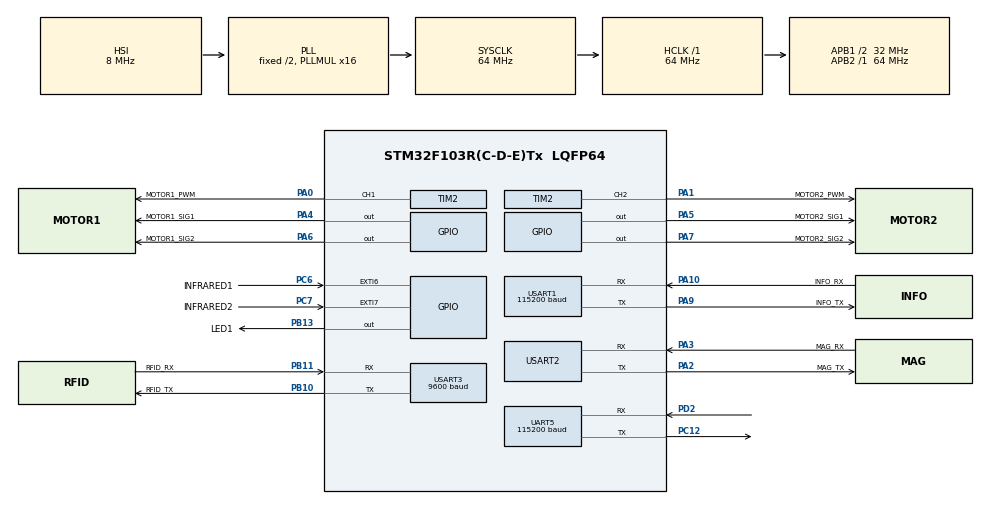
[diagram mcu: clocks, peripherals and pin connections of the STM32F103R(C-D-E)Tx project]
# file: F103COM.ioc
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Mcu.Family=STM32F1
Mcu.Name=STM32F103R(C-D-E)Tx
Mcu.Package=LQFP64
NVIC.EXTI9_5_IRQn=true\:0\:0\:false\:false\:true\:true\:true
NVIC.PriorityGroup=NVIC_PRIORITYGROUP_2
NVIC.TIM3_IRQn=true\:2\:0\:true\:false\:true\:true\:true
NVIC.UART5_IRQn=true\:3\:0\:true\:false\:true\:true\:true
NVIC.USART1_IRQn=true\:1\:1\:true\:false\:true\:true\:true
NVIC.USART2_IRQn=true\:2\:0\:true\:false\:true\:true\:true
NVIC.USART3_IRQn=true\:1\:0\:true\:false\:true\:true\:true
PA0-WKUP.GPIO_Label=MOTOR1_PWM
PA0-WKUP.GPIO_Speed=GPIO_SPEED_FREQ_HIGH
PA0-WKUP.Signal=S_TIM2_CH1_ETR
PA1.GPIO_Label=MOTOR2_PWM
PA1.GPIO_Speed=GPIO_SPEED_FREQ_HIGH
PA1.Signal=S_TIM2_CH2
PA10.GPIO_Label=INFO_RX
PA10.Mode=Asynchronous
PA10.Signal=USART1_RX
PA2.GPIO_Label=MAG_TX
PA2.Mode=Asynchronous
PA2.Signal=USART2_TX
PA3.GPIO_Label=MAG_RX
PA3.Mode=Asynchronous
PA3.Signal=USART2_RX
PA4.GPIO_Label=MOTOR1_SIG1
PA4.GPIO_PuPd=GPIO_PULLDOWN
PA4.Signal=GPIO_Output
PA5.GPIO_Label=MOTOR2_SIG1
PA5.GPIO_PuPd=GPIO_PULLDOWN
PA5.Signal=GPIO_Output
PA6.GPIO_Label=MOTOR1_SIG2
PA6.GPIO_PuPd=GPIO_PULLDOWN
PA6.Signal=GPIO_Output
PA7.GPIO_Label=MOTOR2_SIG2
PA7.GPIO_PuPd=GPIO_PULLDOWN
PA7.Signal=GPIO_Output
PA9.GPIO_Label=INFO_TX
PA9.Mode=Asynchronous
PA9.Signal=USART1_TX
PB10.GPIO_Label=RFID_TX
PB10.Mode=Asynchronous
PB10.Signal=USART3_TX
PB11.GPIO_Label=RFID_RX
PB11.Mode=Asynchronous
PB11.Signal=USART3_RX
PB13.GPIO_Label=LED1
PB13.GPIO_PuPd=GPIO_PULLDOWN
PB13.Signal=GPIO_Output
PC12.Mode=Asynchronous
PC12.Signal=UART5_TX
PC6.GPIO_Label=INFRARED1
PC6.GPIO_ModeDefaultEXTI=GPIO_MODE_IT_RISING_FALLING
PC6.GPIO_PuPd=GPIO_NOPULL
PC6.Signal=GPXTI6
PC7.GPIO_Label=INFRARED2
PC7.GPIO_ModeDefaultEXTI=GPIO_MODE_IT_RISING_FALLING
PC7.GPIO_PuPd=GPIO_NOPULL
PC7.Signal=GPXTI7
PD2.Mode=Asynchronous
PD2.Signal=UART5_RX
ProjectManager.HeapSize=0x200
ProjectManager.StackSize=0x400
ProjectManager.TargetToolchain=MDK-ARM V5
RCC.AHBFreq_Value=64000000
RCC.APB1CLKDivider=RCC_HCLK_DIV2
RCC.APB1Freq_Value=32000000
RCC.APB1TimFreq_Value=64000000
RCC.APB2Freq_Value=64000000
RCC.APB2TimFreq_Value=64000000
RCC.HCLKFreq_Value=64000000
RCC.PLLMUL=RCC_PLL_MUL16
RCC.SYSCLKFreq_VALUE=64000000
RCC.SYSCLKSource=RCC_SYSCLKSOURCE_PLLCLK
RCC.USBFreq_Value=64000000
SH.S_TIM2_CH1_ETR.0=TIM2_CH1,PWM Generation1 CH1
SH.S_TIM2_CH2.0=TIM2_CH2,PWM Generation2 CH2
TIM2.Channel-PWM\ Generation1\ CH1=TIM_CHANNEL_1
TIM2.Channel-PWM\ Generation2\ CH2=TIM_CHANNEL_2
TIM2.Period=100-1
TIM2.Prescaler=64-1
TIM2.Pulse-PWM\ Generation1\ CH1=20
TIM2.Pulse-PWM\ Generation2\ CH2=20
TIM3.Period=100-1
TIM3.Prescaler=64000-1
UART5.BaudRate=115200
UART5.VirtualMode=Asynchronous
USART1.BaudRate=115200
USART1.VirtualMode=VM_ASYNC
USART2.VirtualMode=VM_ASYNC
USART3.BaudRate=9600
USART3.Mode=MODE_RX
USART3.VirtualMode=VM_ASYNC
VP_SYS_VS_ND.Mode=No_Debug
VP_TIM2_VS_ClockSourceINT.Mode=Internal
VP_TIM3_VS_ClockSourceINT.Mode=Internal
board=custom

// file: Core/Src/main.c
/* USER CODE BEGIN Header */
/**
  ******************************************************************************
  * @file           : main.c
  * @brief          : Main program body
  ******************************************************************************
  * @attention
  *
  * <h2><center>&copy; Copyright (c) 2021 STMicroelectronics.
  * All rights reserved.</center></h2>
  *
  * This software component is licensed by ST under BSD 3-Clause license,
  * the "License"; You may not use this file except in compliance with the
  * License. You may obtain a copy of the License at:
  *                        opensource.org/licenses/BSD-3-Clause
  *
  ******************************************************************************
  */
/* USER CODE END Header */
#include "main.h"
#include "tim.h"
#include "usart.h"
#include "gpio.h"

/* USER CODE BEGIN PD */
#define USER_MAIN_DEBUG
#define COMMAND_BUFFER_SIZE 256
#define MOTOR_NUM 2
#define FULL_PULSE 100
#define DELTA_PULSE 1
#define MAG_BUFFER_LEN 9
#define CARD_BUFFER_LEN 16
#define huart_info huart5
#define huart_mag huart2
#define huart_rfid huart3
/* USER CODE END PD */

/* USER CODE BEGIN PM */
#ifdef USER_MAIN_DEBUG
#define user_main_printf(format, ...) printf( format "\r\n", ##__VA_ARGS__)
#define user_main_info(format, ...) printf("[\tmain]info:" format "\r\n", ##__VA_ARGS__)
#define user_main_debug(format, ...) printf("[\tmain]debug:" format "\r\n", ##__VA_ARGS__)
#define user_main_error(format, ...) printf("[\tmain]error:" format "\r\n", ##__VA_ARGS__)
#else
#define user_main_printf(format, ...)
#define user_main_info(format, ...)
#define user_main_debug(format, ...)
#define user_main_error(format, ...)
#endif

#define abs(x) ((x)>=0?(x):-(x))
#define max(a,b) ((a) > (b) ? (a) : (b))
#define min(a,b) ((a) < (b) ? (a) : (b))
/* USER CODE END PM */

/* USER CODE BEGIN PV */

// buffer
uint8_t infoBuffer[1];      // info receive buffer
uint8_t cardBuffer[CARD_BUFFER_LEN];      // card receive buffer
uint8_t magBuffer[MAG_BUFFER_LEN];      // magnetic receive buffer
// command buffer
uint8_t cmdBuffer[COMMAND_BUFFER_SIZE];
uint8_t cmdPtr = 0;
// motor variables
int16_t pulse_motor[MOTOR_NUM] = {0};
uint32_t channel_motor[MOTOR_NUM] = {TIM_CHANNEL_1, TIM_CHANNEL_2};
GPIO_TypeDef* motor_sig_port[MOTOR_NUM][2] = {{MOTOR1_SIG1_GPIO_Port, MOTOR1_SIG2_GPIO_Port},
																							{MOTOR2_SIG1_GPIO_Port, MOTOR2_SIG2_GPIO_Port}};
uint16_t motor_sig_pin[MOTOR_NUM][2] = {{MOTOR1_SIG1_Pin, MOTOR1_SIG2_Pin},
																				{MOTOR2_SIG1_Pin, MOTOR2_SIG2_Pin}};
// stop & speed
// 0 for break; 1 for forward; 2 for backward; 3 for turn left; 4 for turn right;
// 5 for turn left2; 6 for turn right2; 7 for turn left3; 8 for turn right3;
// 9 for turn left4; 10 for turn right4; 11 for turn left5; 12 for turn right5;
uint8_t moving_status = 0;
uint8_t previous_status = 0;
uint8_t forward_speed = 0;
// site
uint8_t target_site = 0;
// 1 for obstacle; 0 for no obstacle;
uint8_t is_obstacle = 0;

/* USER CODE END PV */

void SystemClock_Config(void);

/* USER CODE BEGIN 0 */
int fputc(int ch, FILE *f){
	uint8_t temp[1] = {ch};
	HAL_UART_Transmit(&huart_info, temp, 1, 20); // modify huart_info in need
	return ch;
}
int atoi(char* source){
	int length = strlen(source);
	int sum = 0;
	for(int i=0;i<length;i++){
		sum = sum*10 + (source[i]-'0');
	}
	return sum;
}
/* USER CODE END 0 */

int main(void)
{

  /* MCU Configuration--------------------------------------------------------*/

  /* Reset of all peripherals, Initializes the Flash interface and the Systick. */
  HAL_Init();

  /* Configure the system clock */
  SystemClock_Config();

  /* Initialize all configured peripherals */
  MX_GPIO_Init();
  MX_USART1_UART_Init();
  MX_TIM2_Init();
  MX_TIM3_Init();
  MX_UART5_Init();
  MX_USART2_UART_Init();
  MX_USART3_UART_Init();
  /* USER CODE BEGIN 2 */
	user_main_printf("Welcome to STM32F103!");
	for(uint8_t i=0; i<MOTOR_NUM; ++i){
		HAL_TIM_PWM_Start(&htim2, channel_motor[i]); // enable PWM2 channel
	}
	HAL_TIM_Base_Start_IT(&htim3); // enable timer3 interrupt
	HAL_UART_Receive_IT(&huart_info, infoBuffer, 1); //enable usart1 reveive
	HAL_UART_Receive_IT(&huart_rfid, cardBuffer, CARD_BUFFER_LEN); //enable card usart reveive
	HAL_UART_Receive_IT(&huart_mag, magBuffer, MAG_BUFFER_LEN); //enable mag usart reveive
  /* USER CODE END 2 */

  /* Infinite loop */
  while (1)
  {

  }
}

void SystemClock_Config(void)
{
  RCC_OscInitTypeDef RCC_OscInitStruct = {0};
  RCC_ClkInitTypeDef RCC_ClkInitStruct = {0};

  /** Initializes the RCC Oscillators according to the specified parameters
  * in the RCC_OscInitTypeDef structure.
  */
  RCC_OscInitStruct.OscillatorType = RCC_OSCILLATORTYPE_HSI;
  RCC_OscInitStruct.HSIState = RCC_HSI_ON;
  RCC_OscInitStruct.HSICalibrationValue = RCC_HSICALIBRATION_DEFAULT;
  RCC_OscInitStruct.PLL.PLLState = RCC_PLL_ON;
  RCC_OscInitStruct.PLL.PLLSource = RCC_PLLSOURCE_HSI_DIV2;
  RCC_OscInitStruct.PLL.PLLMUL = RCC_PLL_MUL16;
  if (HAL_RCC_OscConfig(&RCC_OscInitStruct) != HAL_OK)
  {
    Error_Handler();
  }
  /** Initializes the CPU, AHB and APB buses clocks
  */
  RCC_ClkInitStruct.ClockType = RCC_CLOCKTYPE_HCLK|RCC_CLOCKTYPE_SYSCLK
                              |RCC_CLOCKTYPE_PCLK1|RCC_CLOCKTYPE_PCLK2;
  RCC_ClkInitStruct.SYSCLKSource = RCC_SYSCLKSOURCE_PLLCLK;
  RCC_ClkInitStruct.AHBCLKDivider = RCC_SYSCLK_DIV1;
  RCC_ClkInitStruct.APB1CLKDivider = RCC_HCLK_DIV2;
  RCC_ClkInitStruct.APB2CLKDivider = RCC_HCLK_DIV1;

  if (HAL_RCC_ClockConfig(&RCC_ClkInitStruct, FLASH_LATENCY_2) != HAL_OK)
  {
    Error_Handler();
  }
}

/* USER CODE BEGIN 4 */
// motor
void LogicSwitch(uint8_t motor_id, int8_t logic){
	switch(logic){
		case 1:{ // xuan kong
			HAL_GPIO_WritePin(motor_sig_port[motor_id][0], motor_sig_pin[motor_id][0], GPIO_PIN_SET);
			HAL_GPIO_WritePin(motor_sig_port[motor_id][1], motor_sig_pin[motor_id][1], GPIO_PIN_SET);
			break;
		}
		case 2:{ // zheng zhuan
			HAL_GPIO_WritePin(motor_sig_port[motor_id][0], motor_sig_pin[motor_id][0], GPIO_PIN_SET);
			HAL_GPIO_WritePin(motor_sig_port[motor_id][1], motor_sig_pin[motor_id][1], GPIO_PIN_RESET);
			break;
		}
		case 3:{ // fan zhuan
			HAL_GPIO_WritePin(motor_sig_port[motor_id][0], motor_sig_pin[motor_id][0], GPIO_PIN_RESET);
			HAL_GPIO_WritePin(motor_sig_port[motor_id][1], motor_sig_pin[motor_id][1], GPIO_PIN_SET);
			break;
		}
		default:{ // sha che
			HAL_GPIO_WritePin(motor_sig_port[motor_id][0], motor_sig_pin[motor_id][0], GPIO_PIN_RESET);
			HAL_GPIO_WritePin(motor_sig_port[motor_id][1], motor_sig_pin[motor_id][1], GPIO_PIN_RESET);
		}
	}
}
void ModifyPulse(uint8_t motor_id, int16_t pulse){
	pulse = max(DELTA_PULSE-FULL_PULSE, min(pulse, FULL_PULSE-DELTA_PULSE));
	pulse_motor[motor_id] = pulse;
	LogicSwitch(motor_id, pulse>0?2:3);
	//user_main_printf("[\thandleCmd]ModifyPulse: %d!", pulse);
	__HAL_TIM_SET_COMPARE(&htim2, channel_motor[motor_id], abs(pulse)); // modify pulse
}
void SpeedUp(uint8_t motor_id, int16_t pulse){
	ModifyPulse(motor_id, pulse_motor[motor_id]+pulse);
}
void SlowDown(uint8_t motor_id, int16_t pulse){
	ModifyPulse(motor_id, pulse_motor[motor_id]-pulse);
}
void MotorHang(){
	for(uint8_t i=0; i<MOTOR_NUM; ++i){
		LogicSwitch(i, 1);
	}
}
void MotorOn(){
	moving_status = 1;
	for(uint8_t i=0; i<MOTOR_NUM; ++i){
		LogicSwitch(i, 2);
	}
}
void MotorOff(){
	moving_status = 0;
	for(uint8_t i=0; i<MOTOR_NUM; ++i){
		LogicSwitch(i, 0);
	}
}
void MotorForward(){
	moving_status = 0;
	ModifyPulse(0, (int16_t)forward_speed);
	ModifyPulse(1, (int16_t)forward_speed);
	HAL_Delay(2000);
	ModifyPulse(0, 0);
	ModifyPulse(1, 0);
}
void MotorBackward(){
	moving_status = 0;
	ModifyPulse(0, (int16_t)forward_speed*-1);
	ModifyPulse(1, (int16_t)forward_speed*-1);
	HAL_Delay(2000);
	ModifyPulse(0, 0);
	ModifyPulse(1, 0);
}
void MotorTurnLeft(){
	moving_status = 0;
	ModifyPulse(0, (int16_t)forward_speed);
	ModifyPulse(1, (int16_t)forward_speed*-1);
	HAL_Delay(2000);
	ModifyPulse(0, 0);
	ModifyPulse(1, 0);
}
void MotorTurnRight(){
	moving_status = 0;
	ModifyPulse(0, (int16_t)forward_speed*-1);
	ModifyPulse(1, (int16_t)forward_speed);
	HAL_Delay(2000);
	ModifyPulse(0, 0);
	ModifyPulse(1, 0);
}
void MagneticGuide(int8_t* magStatus){
	if(moving_status == 0){ // stop status
		return;
	}
	uint8_t absMag[8] = {0};
	int16_t sumAbsMag = 0;
	for(uint16_t i=0; i<6; ++i){
		absMag[i] = abs(magStatus[i]);
		sumAbsMag += absMag[i];
	}
	if(sumAbsMag < 5){ // no mag so stop
		ModifyPulse(0, 0);
		ModifyPulse(1, 0);
		return;
	}
	user_main_printf("[\thandleNVIC3]: read mag %d %d %d %d %d %d %d %d!",
									 magStatus[0], magStatus[1], magStatus[2], magStatus[3],
									 magStatus[4], magStatus[5], magStatus[6], magStatus[7]);
	int16_t measured_value = 0;
	for(uint16_t i=0; i<3; ++i){
		measured_value += absMag[i] - absMag[5-i];
	}
	//int16_t PID_error = 0 - measured_value;
	//PID_integral = PID_integral + PID_error*1;
	//int16_t PID_derivative = (PID_error - PID_previous_error) / 1;
	//float PID_output = Kp*PID_error + Ki*PID_integral + Kd*PID_derivative;
	//PID_previous_error = PID_error;
	user_main_printf("[\tGuide]: output %d!", measured_value);
	int16_t forward_thres = 30;
	if(abs(measured_value)<forward_thres){
		moving_status = 1; // forward
		ModifyPulse(0, (int16_t)forward_speed);
		ModifyPulse(1, (int16_t)forward_speed);
		return;
	}
	if(measured_value<-5*forward_thres){
		if(moving_status!=11){ // turn left5
			moving_status = 11;
			ModifyPulse(0, (int16_t)forward_speed-19*DELTA_PULSE);
			ModifyPulse(1, (int16_t)forward_speed+19*DELTA_PULSE);
		}
		return;
	}
	if(measured_value>5*forward_thres){
		if(moving_status!=12){ // turn right5
			moving_status = 12;
			ModifyPulse(0, (int16_t)forward_speed+19*DELTA_PULSE);
			ModifyPulse(1, (int16_t)forward_speed-19*DELTA_PULSE);
		}
		return;
	}
	if(measured_value<-4*forward_thres){
		if(moving_status!=9){ // turn left4
			moving_status = 9;
			ModifyPulse(0, (int16_t)forward_speed-13*DELTA_PULSE);
			ModifyPulse(1, (int16_t)forward_speed+13*DELTA_PULSE);
		}
		return;
	}
	if(measured_value>4*forward_thres){
		if(moving_status!=10){ // turn right4
			moving_status = 10;
			ModifyPulse(0, (int16_t)forward_speed+13*DELTA_PULSE);
			ModifyPulse(1, (int16_t)forward_speed-13*DELTA_PULSE);
		}
		return;
	}
	if(measured_value<-3*forward_thres){
		if(moving_status!=7){ // turn left3
			moving_status = 7;
			ModifyPulse(0, (int16_t)forward_speed-7*DELTA_PULSE);
			ModifyPulse(1, (int16_t)forward_speed+7*DELTA_PULSE);
		}
		return;
	}
	if(measured_value>3*forward_thres){
		if(moving_status!=8){ // turn right3
			moving_status = 8;
			ModifyPulse(0, (int16_t)forward_speed+7*DELTA_PULSE);
			ModifyPulse(1, (int16_t)forward_speed-7*DELTA_PULSE);
		}
		return;
	}
	if(measured_value<-2*forward_thres){
		if(moving_status!=5){ // turn left2
			moving_status = 5;
			ModifyPulse(0, (int16_t)forward_speed-3*DELTA_PULSE);
			ModifyPulse(1, (int16_t)forward_speed+3*DELTA_PULSE);
		}
		return;
	}
	if(measured_value>2*forward_thres){
		if(moving_status!=6){ // turn right2
			moving_status = 6;
			ModifyPulse(0, (int16_t)forward_speed+3*DELTA_PULSE);
			ModifyPulse(1, (int16_t)forward_speed-3*DELTA_PULSE);
		}
		return;
	}
	if(measured_value<-1*forward_thres){
		if(moving_status!=3){ // turn left
			moving_status = 3;
			ModifyPulse(0, (int16_t)forward_speed-1*DELTA_PULSE);
			ModifyPulse(1, (int16_t)forward_speed+1*DELTA_PULSE);
		}
		return;
	}
	if(measured_value>forward_thres){
		if(moving_status!=4){ // turn right
			moving_status = 4;
			ModifyPulse(0, (int16_t)forward_speed+1*DELTA_PULSE);
			ModifyPulse(1, (int16_t)forward_speed-1*DELTA_PULSE);
		}
		return;
	}
}

//清空接收缓冲
void clearCmdBuffer(void)
{
  cmdPtr = 0;
  cmdBuffer[cmdPtr] = 0;
}

void handleCmd(void){
	// user_main_printf("[\thandleCmd]Handle Cmd: %s!", cmdBuffer);
	char delim[] = " ";
	char *cmdseg = strtok((char*)cmdBuffer, delim);
	if(cmdseg!=NULL){
		char *idstr = strtok(NULL, delim);
		if(idstr!=NULL){
			uint8_t mid = idstr[0] - '1';
			if(strcmp(cmdseg, "on")==0){
				user_main_printf("[\thandleCmd]Handle Cmd: on!");
				LogicSwitch(mid, 1);
			}
			if(strcmp(cmdseg, "off")==0){
				user_main_printf("[\thandleCmd]Handle Cmd: off!");
				LogicSwitch(mid, 0);
			}
			if(strcmp(cmdseg, "up")==0){
				user_main_printf("[\thandleCmd]Handle Cmd: speed up!");
				SpeedUp(mid, DELTA_PULSE);
			}
			if(strcmp(cmdseg, "down")==0){
				user_main_printf("[\thandleCmd]Handle Cmd: slow down!");
				SlowDown(mid, DELTA_PULSE);
			}
			if(strcmp(cmdseg, "speed")==0){
				user_main_printf("[\thandleCmd]Handle Cmd: set speed!");
				forward_speed = atoi(idstr);
				user_main_printf("[\thandleCmd]speed set to %d!", forward_speed);
			}
			if(strcmp(cmdseg, "to")==0){
				user_main_printf("[\thandleCmd]Handle Cmd: go to!");
				target_site = atoi(idstr);
				user_main_printf("[\thandleCmd]site set to %d!", target_site);
			}
		}else{
			if(strcmp(cmdseg, "stop")==0){
				user_main_printf("[\thandleCmd]Handle Cmd: stop!");
				moving_status = 0;
				MotorOff();
			}
			if(strcmp(cmdseg, "start")==0){
				user_main_printf("[\thandleCmd]Handle Cmd: start!");
				moving_status = 1;
				MotorOn();
			}
			if(strcmp(cmdseg, "left")==0){
				user_main_printf("[\thandleCmd]Handle Cmd: left!");
				MotorTurnLeft();
			}
			if(strcmp(cmdseg, "right")==0){
				user_main_printf("[\thandleCmd]Handle Cmd: right!");
				MotorTurnRight();
			}
			if(strcmp(cmdseg, "forward")==0){
				user_main_printf("[\thandleCmd]Handle Cmd: forward!");
				MotorForward();
			}
			if(strcmp(cmdseg, "back")==0){
				user_main_printf("[\thandleCmd]Handle Cmd: back!");
				MotorBackward();
			}
		}
	}
	clearCmdBuffer();
}

void addCmdBuffer(uint8_t data)
{
	if(data == '\r' ){
		return;
	}
	//如果为回车键，则开始处理串口数据
	if(data == '\n'){
		handleCmd();
		return;
	}
	// add cmd
	if(cmdPtr < (COMMAND_BUFFER_SIZE - 1)){
		cmdBuffer[cmdPtr] = data;
		cmdBuffer[cmdPtr + 1]=0x00;
		cmdPtr++;
	}
	else{
		cmdBuffer[cmdPtr - 1] = data;
	}
}

void HAL_UART_RxCpltCallback(UART_HandleTypeDef *huart)
{
	if(huart == &huart_info){
		uint8_t data = infoBuffer[0];
		addCmdBuffer(data);
		HAL_UART_Receive_IT(&huart_info, infoBuffer, 1);
	}
	if(huart == &huart_rfid){
		uint8_t card_id = cardBuffer[15];
		user_main_printf("[\thandleNVIC2]: read card %d!", card_id);
		if(card_id == target_site){
			MotorOff();
		}
		HAL_UART_Receive_IT(&huart_rfid, cardBuffer, CARD_BUFFER_LEN);
	}
	if(huart == &huart_mag){
		int8_t magStatus[8] = {0};
		for(uint16_t i=0; i<8; ++i){
			magStatus[i] = (int8_t)magBuffer[i];
		}
		MagneticGuide(magStatus);
		HAL_UART_Receive_IT(&huart_mag, magBuffer, MAG_BUFFER_LEN);
	}
}
void HAL_UART_ErrorCallback(UART_HandleTypeDef *huart)
{
	if(huart == &huart_rfid)
	{
		__HAL_UNLOCK(huart);
		HAL_UART_Receive_IT(&huart_rfid, cardBuffer, CARD_BUFFER_LEN);
	}
	if(huart == &huart_mag)
	{
		__HAL_UNLOCK(huart);
		HAL_UART_Receive_IT(&huart_mag, magBuffer, MAG_BUFFER_LEN);
	}
	if(huart == &huart_info)
	{
		__HAL_UNLOCK(huart);
		HAL_UART_Receive_IT(&huart_info, infoBuffer, 1);
	}
}

void HAL_TIM_PeriodElapsedCallback(TIM_HandleTypeDef *htim)
{
	if (htim == (&htim3))
	{
		if(moving_status!=0){
			uint8_t mag_addr[1] = {0xC1};
			HAL_UART_Transmit(&huart_mag, mag_addr, 1, 10); // send magnetic address
			HAL_GPIO_TogglePin(LED1_GPIO_Port, LED1_Pin);
		}
	}
}
void HAL_GPIO_EXTI_Callback(uint16_t GPIO_Pin)
{
	GPIO_PinState inf_bit1, inf_bit2;
	inf_bit1 = HAL_GPIO_ReadPin(INFRARED1_GPIO_Port, INFRARED1_Pin);
	inf_bit2 = HAL_GPIO_ReadPin(INFRARED2_GPIO_Port, INFRARED2_Pin);

  if(GPIO_Pin == INFRARED1_Pin || GPIO_Pin == INFRARED2_Pin)
  {
		if( (inf_bit1 == GPIO_PIN_RESET || inf_bit2 == GPIO_PIN_RESET) && is_obstacle == 0){
			is_obstacle = 1;
			previous_status = moving_status;
			MotorOff();
			user_main_printf("[\thandleEXTI]: Detected Obstacle!");
		}
		if( (inf_bit1 == GPIO_PIN_SET && inf_bit2 == GPIO_PIN_SET) && is_obstacle == 1){
			is_obstacle = 0;
			moving_status = previous_status; // restore moving status
			user_main_printf("[\thandleEXTI]: No Obstacle!");
		}
  }
}

/* USER CODE END 4 */

void Error_Handler(void)
{
  __disable_irq();
  while (1)
  {
  }
}

/************************ (C) COPYRIGHT STMicroelectronics *****END OF FILE****/
